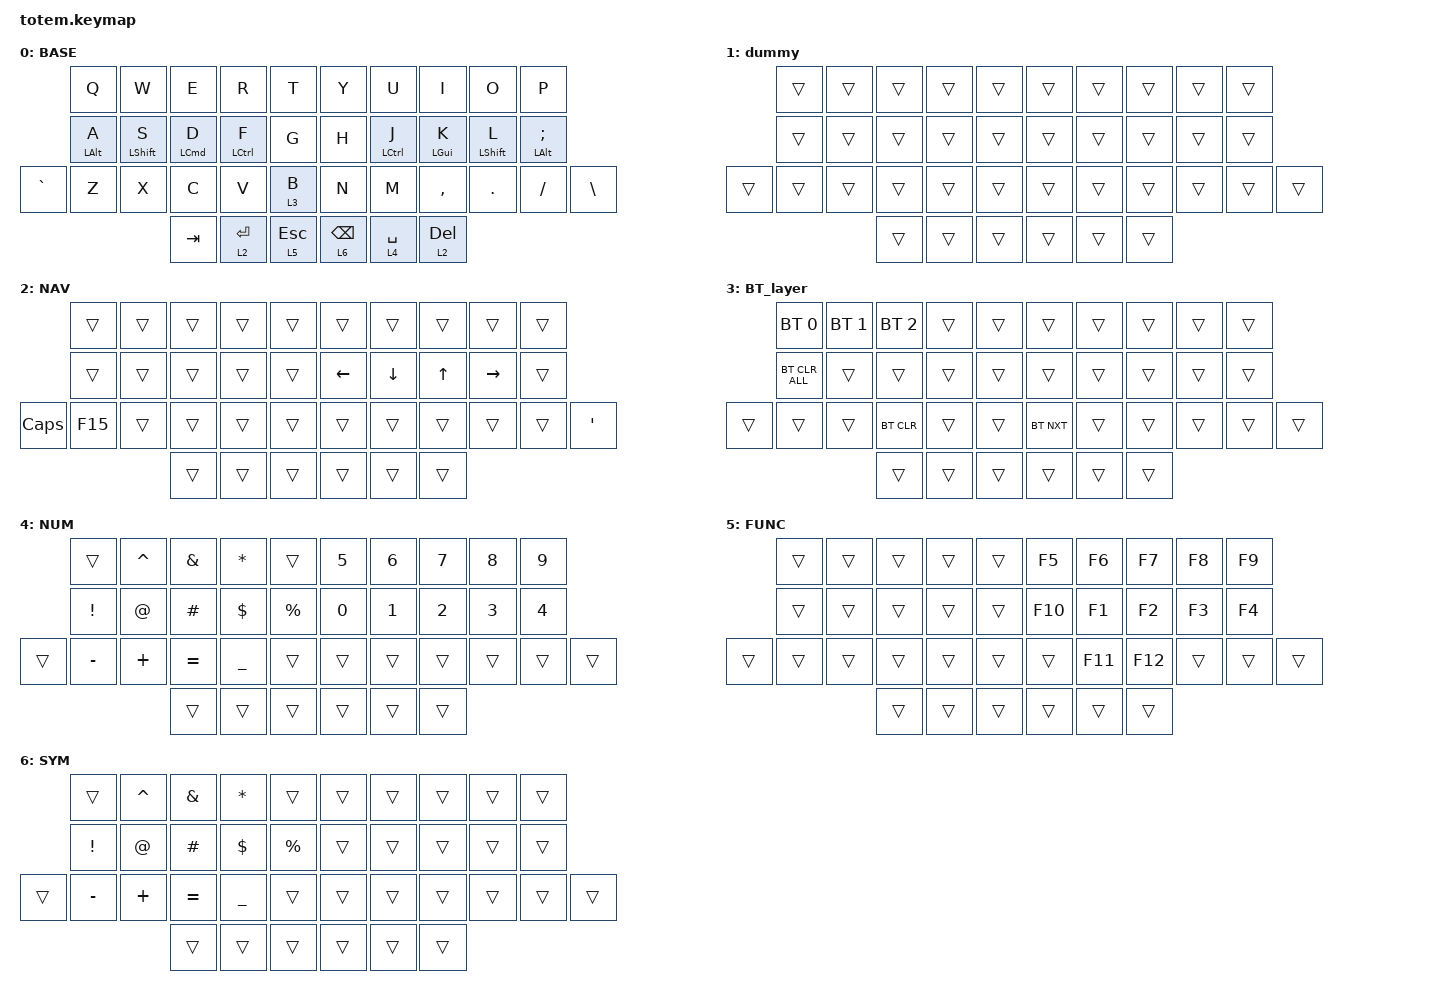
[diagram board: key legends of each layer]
//
//                                                        ▀▀▀▀▀     ▀▀▀▀▀          ▀▀█▀▀
//                                                        ▄▀▀▀▄  ▄  ▄▀▀▀▄  ▄  ▄▀▀▀▄  █  ▄▀▀▀▄
//                                                        █   █  █  █   █  █  █   █  █  █   █
//                                                         ▀▀▀   █   ▀▀▀   █   ▀▀▀   ▀   ▀▀▀
//                                                               █      ▄▄▄█▄▄▄    █   █  
//                                                               ▀      █  █  █     █▄█
//                                                             ▀▀▀▀▀    █  █  █      ▀
//                                                                      ▀  ▀  ▀
//
// ▄▄▄▄▄▄▄▄▄▄▄▄▄▄▄▄▄▄▄▄▄▄▄▄▄▄▄▄▄▄▄▄▄▄▄▄▄▄▄▄▄▄▄▄▄▄▄▄▄▄▄▄▄▄▄▄▄▄▄▄▄▄▄▄▄▄▄▄▄▄▄▄▄▄▄▄▄▄▄▄▄▄▄▄▄▄▄▄▄▄▄▄▄▄▄▄▄▄▄▄▄▄▄▄▄▄▄▄▄▄▄▄▄▄▄▄▄▄▄▄▄▄▄▄▄▄▄▄▄▄▄▄▄▄▄▄▄▄▄▄▄▄▄▄▄▄▄▄▄

#include <behaviors.dtsi>
#include <dt-bindings/zmk/bt.h>
#include <dt-bindings/zmk/keys.h>

#define BASE 0
#define NAV  1
#define SYM  2
#define ADJ  3
#define TVP1 4
#define TVP2 5

&mt {
    quick-tap-ms = <100>;
    global-quick-tap;
    flavor = "tap-preferred";
    tapping-term-ms = <170>;
};

&tog { toggle-mode = "flip"; };

/ {
    combos {
        compatible = "zmk,combos";

        copy {
            bindings = <&kp LG(C)>;
            key-positions = <22 23>;
            require-prior-idle-ms = <100>;
        };

        cut {
            bindings = <&kp LG(X)>;
            key-positions = <21 22>;
            require-prior-idle-ms = <100>;
        };

        paste {
            bindings = <&kp LG(V)>;
            key-positions = <23 24>;
            require-prior-idle-ms = <100>;
            slow-release;
        };

        left_desk {
            bindings = <&kp LC(LEFT)>;
            key-positions = <12 11>;
            require-prior-idle-ms = <100>;
        };

        right_desk {
            bindings = <&kp LC(RIGHT)>;
            key-positions = <12 13>;
            require-prior-idle-ms = <100>;
        };

        mission_control {
            bindings = <&kp LC(UP_ARROW)>;
            key-positions = <11 12 13>;
            require-prior-idle-ms = <100>;
        };

        left_win {
            bindings = <&kp LG(GRAVE)>;
            key-positions = <10 11>;
            require-prior-idle-ms = <100>;
        };

        right_win {
            bindings = <&kp LG(LS(GRAVE))>;
            key-positions = <19 18>;
            require-prior-idle-ms = <100>;
        };

        left_parenthesis {
            bindings = <&kp LEFT_PARENTHESIS>;
            key-positions = <16 17>;
            require-prior-idle-ms = <100>;
        };

        right_parenthesis {
            bindings = <&kp RIGHT_PARENTHESIS>;
            key-positions = <17 18>;
            require-prior-idle-ms = <100>;
        };

        left_brace {
            bindings = <&kp LEFT_BRACE>;
            key-positions = <27 28>;
            require-prior-idle-ms = <100>;
        };

        right_brace {
            bindings = <&kp RIGHT_BRACE>;
            key-positions = <28 29>;
            require-prior-idle-ms = <100>;
        };

        left_bracket {
            bindings = <&kp LEFT_BRACKET>;
            key-positions = <6 7>;
            require-prior-idle-ms = <100>;
        };

        right_bracket {
            bindings = <&kp RIGHT_BRACKET>;
            key-positions = <7 8>;
            require-prior-idle-ms = <100>;
        };

        lefthalf {
            bindings = <&kp LA(LG(LEFT))>;
            key-positions = <1 2>;
            require-prior-idle-ms = <100>;
        };

        righthalf {
            bindings = <&kp LA(LG(RIGHT))>;
            key-positions = <2 3>;
            require-prior-idle-ms = <100>;
        };

        full_win {
            bindings = <&kp LA(LG(F))>;
            key-positions = <1 2 3>;
            require-prior-idle-ms = <100>;
        };

        trans_lang {
            bindings = <&kp LC(SPACE)>;
            key-positions = <33 36>;
        };

        prev_tab {
            bindings = <&kp LG(LS(LEFT_BRACKET))>;
            key-positions = <16 17 18>;
        };

        next_tab {
            bindings = <&kp LG(LS(RIGHT_BRACKET))>;
            key-positions = <7 8 6>;
        };
    };

    macros {
        gif: gif {
            label = "giphy";
            compatible = "zmk,behavior-macro";
            #binding-cells = <0>;
            bindings =
                <&macro_press>,
                <&kp LSHFT>,
                <&macro_tap>,
                <&kp N2>,
                <&macro_release>,
                <&kp LSHFT>,
                <&macro_tap>,
                <&kp G &kp I &kp F>;
        };
    };

    behaviors {
        hm: homerow_mods {
            compatible = "zmk,behavior-hold-tap";
            label = "HOMEROW_MODS";
            bindings = <&kp>, <&kp>;

            #binding-cells = <2>;
            tapping-term-ms = <200>;
            quick-tap-ms = <130>;
            flavor = "tap-preferred";
            hold-trigger-key-positions = <52 36>;
        };

        td_copy: td_copy {
            compatible = "zmk,behavior-tap-dance";
            label = "TD_COPY";
            #binding-cells = <0>;
            bindings = <&kp LG(C)>, <&ht_test LG(V) LG(X)>;

            tapping-term-ms = <350>;
        };

        ht_test: ht_test {
            compatible = "zmk,behavior-hold-tap";
            label = "HT_TEST";
            bindings = <&kp>, <&kp>;

            #binding-cells = <2>;
            tapping-term-ms = <350>;
            flavor = "tap-preferred";
        };

        OSM_shift: OSM_shift {
            compatible = "zmk,behavior-sticky-key";
            label = "OSM_SHIFT";
            bindings = <&kp>;
            #binding-cells = <1>;
            release-after-ms = <200>;
            quick-release;
        };

        hms: homerow_shift {
            compatible = "zmk,behavior-hold-tap";
            label = "HOMEROW_SHIFT";
            bindings = <&OSM_shift>, <&kp>;

            #binding-cells = <2>;
            tapping-term-ms = <200>;
            quick-tap-ms = <130>;
            flavor = "tap-preferred";
        };

        lt_thumb: lt_thumb {
            compatible = "zmk,behavior-hold-tap";
            label = "LT_THUMB";
            bindings = <&mo>, <&kp>;

            #binding-cells = <2>;
            tapping-term-ms = <200>;
            quick-tap-ms = <200>;
            flavor = "tap-preferred";
            retro-tap;
        };

        lt_alpha: lt_alpha {
            compatible = "zmk,behavior-hold-tap";
            label = "LT_ALPHA";
            bindings = <&mo>, <&kp>;

            #binding-cells = <2>;
            tapping-term-ms = <200>;
            quick-tap-ms = <200>;
            flavor = "tap-preferred";
        };

        hmc: homerow_ctrl {
            compatible = "zmk,behavior-hold-tap";
            label = "HOMEROW_CTRL";
            bindings = <&kp>, <&kp>;

            #binding-cells = <2>;
            tapping-term-ms = <200>;
            quick-tap-ms = <130>;
            flavor = "tap-preferred";
            hold-trigger-key-positions = <52 23 3 36 12 18 21 1 25 8 7 13 10 0 14>;
        };

        hmo: homerow_command {
            compatible = "zmk,behavior-hold-tap";
            label = "HOMEROW_COMMAND";
            bindings = <&kp>, <&kp>;

            #binding-cells = <2>;
            tapping-term-ms = <200>;
            quick-tap-ms = <130>;
            flavor = "tap-preferred";
            hold-trigger-key-positions = <52 10 21 22 24 23 1 3 18 17 16 15 4 25 9 13>;
        };
    };

    keymap {
        compatible = "zmk,keymap";

        // ▄▄▄▄▄▄▄▄▄▄▄▄▄▄▄▄▄▄▄▄▄▄▄▄▄▄▄▄▄▄▄▄▄▄▄▄▄▄▄▄▄▄▄▄▄▄▄▄▄▄▄▄▄▄▄▄▄▄▄▄▄▄▄▄▄▄▄▄▄▄▄▄▄▄▄▄▄▄▄▄▄▄▄▄▄▄▄▄▄▄▄▄▄▄▄▄▄▄▄▄▄▄▄▄▄▄▄▄▄▄▄▄▄▄▄▄▄▄▄▄▄▄▄▄▄▄▄▄▄▄▄▄▄▄▄▄▄▄▄▄▄▄▄▄▄▄▄▄▄

        base_layer {
            // ┏━━━━━━━━━━━━━━━━━━━━━━━━━━━━━━━━━━━━━━━┓

            label = "BASE";

            // ┗━━━━━━━━━━━━━━━━━━━━━━━━━━━━━━━━━━━━━━━┛
            //             ┏━━━━━━━━━━━┳━━━━━━━━━━━┳━━━━━━━━━━━┳━━━━━━━━━━━┳━━━━━━━━━━━┓   ┏━━━━━━━━━━━┳━━━━━━━━━━━┳━━━━━━━━━━━┳━━━━━━━━━━━┳━━━━━━━━━━━┓
            //             ┃     Q     ┃     W     ┃     F     ┃     P     ┃     G     ┃   ┃     J     ┃     L     ┃     U     ┃     Y     ┃     ;     ┃
            //             ┣━━━━━━━━━━━╋━━━━━━━━━━━╋━━━━━━━━━━━╋━━━━━━━━━━━╋━━━━━━━━━━━┫   ┣━━━━━━━━━━━╋━━━━━━━━━━━╋━━━━━━━━━━━╋━━━━━━━━━━━╋━━━━━━━━━━━┫
            //             ┃     A     ┃     R     ┃     S     ┃     T     ┃     D     ┃   ┃     H     ┃     N     ┃     E     ┃     I     ┃     O     ┃
            // ┏━━━━━━━━━━━╋━━━━━━━━━━━╋━━━━━━━━━━━╋━━━━━━━━━━━╋━━━━━━━━━━━╋━━━━━━━━━━━┫   ┣━━━━━━━━━━━╋━━━━━━━━━━━╋━━━━━━━━━━━╋━━━━━━━━━━━╋━━━━━━━━━━━╋━━━━━━━━━━━┓
            // ┃     Q     ┃     Z     ┃     X     ┃     C     ┃     V     ┃     B     ┃   ┃     K     ┃     M     ┃     ,     ┃     .     ┃     /     ┃     \     ┃
            // ┗━━━━━━━━━━━┻━━━━━━━━━━━┻━━━━━━━━━━━╋━━━━━━━━━━━╋━━━━━━━━━━━╋━━━━━━━━━━━┫   ┣━━━━━━━━━━━╋━━━━━━━━━━━╋━━━━━━━━━━━╋━━━━━━━━━━━┻━━━━━━━━━━━┻━━━━━━━━━━━┛
            //                                     ┃    DEL    ┃    TAB    ┃    SPC    ┃   ┃   ENTER   ┃           ┃   BSPC    ┃
            //                                     ┗━━━━━━━━━━━┻━━━━━━━━━━━┻━━━━━━━━━━━┛   ┗━━━━━━━━━━━┻━━━━━━━━━━━┻━━━━━━━━━━━┛

            bindings = <
           &kp Q       &kp W         &kp E                &kp R              &kp T              &kp Y                  &kp U                &kp I               &kp O              &kp P
           &hm LALT A  &hms LSHFT S  &hmo LEFT_COMMAND D  &hmc LCTRL F       &kp G              &kp H                  &hmc LEFT_CONTROL J  &hmo LEFT_GUI K     &hms LEFT_SHIFT L  &hm LEFT_ALT SEMICOLON
&kp GRAVE  &kp Z       &kp X         &kp C                &kp V              &lt_alpha 3 B      &kp N                  &kp M                &kp COMMA           &kp PERIOD         &kp SLASH               &kp BACKSLASH
                                     &kp TAB              &lt_alpha 2 ENTER  &lt_thumb 5 ESC    &lt_thumb 6 BACKSPACE  &lt_thumb 4 SPACE    &lt_thumb 2 DELETE
            >;
        };

        dummy {
            bindings = <
        &trans  &trans  &trans  &trans  &trans    &trans  &trans  &trans  &trans  &trans
        &trans  &trans  &trans  &trans  &trans    &trans  &trans  &trans  &trans  &trans
&trans  &trans  &trans  &trans  &trans  &trans    &trans  &trans  &trans  &trans  &trans  &trans
                        &trans  &trans  &trans    &trans  &trans  &trans
            >;
        };

        NAV {
            bindings = <
              &trans   &trans  &trans  &trans  &trans    &trans          &trans          &trans        &trans           &trans
              &trans   &trans  &trans  &trans  &trans    &kp LEFT_ARROW  &kp DOWN_ARROW  &kp UP_ARROW  &kp RIGHT_ARROW  &trans
&kp CAPSLOCK  &kp F15  &trans  &trans  &trans  &trans    &trans          &trans          &trans        &trans           &trans  &kp SQT
                               &trans  &trans  &trans    &trans          &trans          &trans
            >;
        };

        BT_layer {
            bindings = <
        &bt BT_SEL 0    &bt BT_SEL 1  &bt BT_SEL 2  &trans  &trans    &trans      &trans  &trans  &trans  &trans
        &bt BT_CLR_ALL  &trans        &trans        &trans  &trans    &trans      &trans  &trans  &trans  &trans
&trans  &trans          &trans        &bt BT_CLR    &trans  &trans    &bt BT_NXT  &trans  &trans  &trans  &trans  &trans
                                      &trans        &trans  &trans    &trans      &trans  &trans
            >;
        };

        NUM {
            bindings = <
        &trans           &kp CARET    &kp AMPERSAND  &kp ASTERISK    &trans         &kp N5  &kp N6  &kp N7  &kp N8  &kp N9
        &kp EXCLAMATION  &kp AT_SIGN  &kp POUND      &kp DOLLAR      &kp PERCENT    &kp N0  &kp N1  &kp N2  &kp N3  &kp N4
&trans  &kp MINUS        &kp PLUS     &kp EQUAL      &kp UNDERSCORE  &trans         &trans  &trans  &trans  &trans  &trans  &trans
                                      &trans         &trans          &trans         &trans  &trans  &trans
            >;
        };

        FUNC {
            bindings = <
        &trans  &trans  &trans  &trans  &trans    &kp F5   &kp F6   &kp F7   &kp F8  &kp F9
        &trans  &trans  &trans  &trans  &trans    &kp F10  &kp F1   &kp F2   &kp F3  &kp F4
&trans  &trans  &trans  &trans  &trans  &trans    &trans   &kp F11  &kp F12  &trans  &trans  &trans
                        &trans  &trans  &trans    &trans   &trans   &trans
            >;
        };

        SYM {
            bindings = <
        &trans           &kp CARET    &kp AMPERSAND  &kp ASTERISK    &trans         &trans  &trans  &trans  &trans  &trans
        &kp EXCLAMATION  &kp AT_SIGN  &kp POUND      &kp DOLLAR      &kp PERCENT    &trans  &trans  &trans  &trans  &trans
&trans  &kp MINUS        &kp PLUS     &kp EQUAL      &kp UNDERSCORE  &trans         &trans  &trans  &trans  &trans  &trans  &trans
                                      &trans         &trans          &trans         &trans  &trans  &trans
            >;
        };

        // ▄▄▄▄▄▄▄▄▄▄▄▄▄▄▄▄▄▄▄▄▄▄▄▄▄▄▄▄▄▄▄▄▄▄▄▄▄▄▄▄▄▄▄▄▄▄▄▄▄▄▄▄▄▄▄▄▄▄▄▄▄▄▄▄▄▄▄▄▄▄▄▄▄▄▄▄▄▄▄▄▄▄▄▄▄▄▄▄▄▄▄▄▄▄▄▄▄▄▄▄▄▄▄▄▄▄▄▄▄▄▄▄▄▄▄▄▄▄▄▄▄▄▄▄▄▄▄▄▄▄▄▄▄▄▄▄▄▄▄▄▄▄▄▄▄▄▄▄▄
        // ▄▄▄▄▄▄▄▄▄▄▄▄▄▄▄▄▄▄▄▄▄▄▄▄▄▄▄▄▄▄▄▄▄▄▄▄▄▄▄▄▄▄▄▄▄▄▄▄▄▄▄▄▄▄▄▄▄▄▄▄▄▄▄▄▄▄▄▄▄▄▄▄▄▄▄▄▄▄▄▄▄▄▄▄▄▄▄▄▄▄▄▄▄▄▄▄▄▄▄▄▄▄▄▄▄▄▄▄▄▄▄▄▄▄▄▄▄▄▄▄▄▄▄▄▄▄▄▄▄▄▄▄▄▄▄▄▄▄▄▄▄▄▄▄▄▄▄▄▄
    };
};
